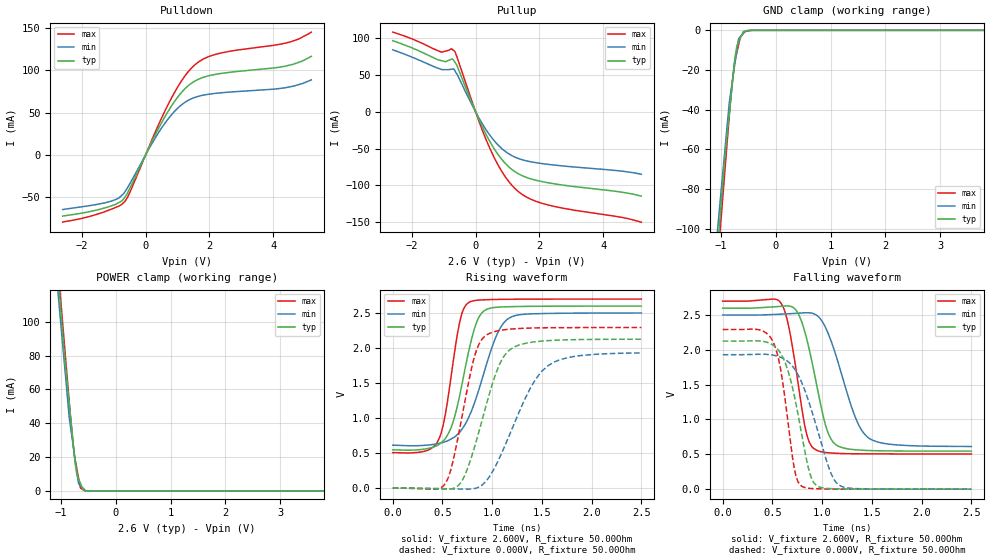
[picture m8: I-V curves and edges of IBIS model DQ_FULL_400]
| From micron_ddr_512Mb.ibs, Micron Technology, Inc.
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|   MODEL DQ_FULL_400
[Model]   DQ_FULL_400
Model_type   I/O
Vinl = 0.990V
Vinh = 1.610V
Vmeas = 1.300V
Vref = 1.300V
Cref = 30.000pF
Rref = 50.000Ohm
|   typ   min   max
C_comp   3.00pF   2.85pF   3.15pF
[Model Spec]
| Input threshold voltage corners
Vinh   1.610V   1.560V   1.660V
Vinl   0.990V   0.940V   1.040V
| Measurement voltage corners
Vmeas   1.300V   1.250V   1.350V
| Timing spec test load voltage corners
Vref   1.300V   1.250V   1.350V
| Overshoot/Undershoot
S_overshoot_high   2.900V   2.800V   3.000V
S_overshoot_low   -0.300V   -0.300V   -0.300V
D_overshoot_high   4.100V   4.000V   4.200V
D_overshoot_low   -1.500V   -1.500V   -1.500V
D_overshoot_time   1.667n   1.667n   1.667n
[Receiver Thresholds]
Vth   =  1.300V
Vth_min  =  1.274V
Vth_max  =  1.326V
Vinh_ac  =  0.310V
Vinh_dc  =  0.150V
Vinl_ac  = -0.310V
Vinl_dc  = -0.150V
Tslew_ac =  10.000ns |Not specified, so set to high value
Threshold_sensitivity = 0.50
Reference_supply Pullup_ref
[Voltage Range]   2.600V   2.500V   2.700V
[Pullup Reference]   2.600V   2.500V   2.700V
| Junction Temperature (Ambient temp is 25C typ, 70C min, 0C max)
[Temperature Range]   40.0   85.0   0.0
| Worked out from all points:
|   slope of the pulldown table from 0 to 0.39 V, typ, clamps not added: 12.9 ohm
|   slope of the pullup table from 0 to 0.39 V, typ, clamps not added: 10.8 ohm
|   GND clamp passes 1 mA (typ) near -0.60 V on its own axis
|   POWER clamp passes 1 mA (typ) near -0.60 V on its own axis
|   falling waveform, V_fixture 2.600V, R_fixture 50.00Ohm: 20-80 % time 188ps typ, 255ps min, 147ps max; typ from 2.6 V to 0.546 V
|   rising waveform, V_fixture 2.600V, R_fixture 50.00Ohm: 20-80 % time 195ps typ, 270ps min, 144ps max; typ from 0.546 V to 2.6 V
|   rising waveform, V_fixture 0.000V, R_fixture 50.00Ohm: 20-80 % time 267ps typ, 375ps min, 196ps max; typ from 0 V to 2.12 V
|   falling waveform, V_fixture 0.000V, R_fixture 50.00Ohm: 20-80 % time 187ps typ, 259ps min, 136ps max; typ from 2.12 V to 0 V
[Pulldown]
|   Voltage   I(typ)   I(min)   I(max)
-2.6V     -72.35mA   -64.58mA   -79.46mA
-1.055V   -59.89mA   -54.38mA   -63.81mA
-850mV    -56.52mA   -51.22mA   -60.68mA
-650mV    -49.79mA   -43.63mA   -55.03mA
-475mV    -37.99mA   -32.72mA   -42.63mA
215mV     17.08mA    14.47mA    19.33mA
660mV     48.58mA    40.2mA     56.03mA
1.205V    77.09mA    61.4mA     91.8mA
1.64V     89.16mA    69.1mA     109.3mA
2.385V    96.41mA    73.53mA    120.6mA
4.37V     104.8mA    79.36mA    132mA
5.2V      116.5mA    88.75mA    145.2mA
[GND Clamp]
|   Voltage   I(typ)   I(min)   I(max)
-2.6V     -699mA     -663.5mA   -736mA
-1.055V   -106mA     -96.76mA   -113.2mA
-945mV    -67.84mA   -63.95mA   -75.07mA
-855mV    -42.91mA   -37.1mA    -43.9mA
-795mV    -26.35mA   -25.39mA   -25.67mA
-750mV    -13.94mA   -16.85mA   -15.71mA
-715mV    -8.058mA   -10.21mA   -11.38mA
-685mV    -6.006mA   -4.513mA   -7.669mA
-650mV    -3.921mA   -3.188mA   -3.34mA
-595mV    -655.3uA   -1.443mA   -1.527mA
-385mV    -1.211uA   -2.54uA    -330.1nA
5.2V      0A         0A         0A
[Pullup]
|   Voltage   I(typ)   I(min)   I(max)
-2.6V     96.87mA    84.48mA    108.6mA
-1.075V   69.69mA    57.7mA     81.25mA
-945mV    68.24mA    57.42mA    82.65mA
-760mV    71.58mA    57.98mA    85.85mA
-650mV    67.72mA    55.99mA    82.26mA
140mV     -13.84mA   -11.01mA   -16.85mA
460mV     -41.32mA   -32.53mA   -50.9mA
940mV     -70.51mA   -54.16mA   -89.03mA
1.395V    -85.61mA   -64.4mA    -110.4mA
1.725V    -91.23mA   -68mA      -118.9mA
2.295V    -96.8mA    -71.67mA   -127.1mA
5.2V      -114.8mA   -85mA      -150.3mA
[POWER Clamp]
|   Voltage   I(typ)   I(min)   I(max)
-2.6V     793.4mA    770mA      815mA
-1.055V   125.7mA    115.9mA    130.8mA
-945mV    82.06mA    76.33mA    88.01mA
-850mV    50.62mA    42.43mA    51.09mA
-795mV    32.48mA    29.85mA    31.85mA
-760mV    20.93mA    21.84mA    21.23mA
-715mV    9.987mA    11.54mA    13.22mA
-685mV    7.32mA     4.673mA    8.005mA
-650mV    4.616mA    3.247mA    1.918mA
-595mV    378.9uA    1.425mA    632.5uA
-445mV    1.932uA    2.253uA    NA
5.2V      0A         0A         0A
[Ramp]
R_load = 50.00Ohm
|   typ   min   max
dV/dt_r   1.275V/266.754ps   1.158V/375.290ps   1.375V/196.273ps
dV/dt_f   1.231V/187.851ps   1.132V/254.709ps   1.316V/147.088ps
[Falling Waveform]
V_fixture = 2.600V
V_fixture_min = 2.500V
V_fixture_max = 2.700V
R_fixture = 50.00Ohm
|   Time   V(typ)   V(min)   V(max)
0s        2.598V     2.5V       2.698V
590ps     2.624V     2.512V     2.661V
670ps     2.628V     2.518V     2.289V
760ps     2.518V     2.525V     1.501V
840ps     2.183V     2.532V     816.1mV
920ps     1.672V     2.513V     579.7mV
1.11ns    674.4mV    2.043V     517.1mV
1.33ns    566.1mV    1.043V     508mV
1.46ns    555.3mV    741.6mV    506.6mV
2.5ns     545.9mV    612.2mV    505.6mV
[Rising Waveform]
V_fixture = 2.600V
V_fixture_min = 2.500V
V_fixture_max = 2.700V
R_fixture = 50.00Ohm
|   Time   V(typ)   V(min)   V(max)
0s        545.9mV    612.2mV    505.6mV
340ps     561.1mV    612.4mV    533.3mV
470ps     626.4mV    639.4mV    716.6mV
580ps     838.8mV    695mV      1.521V
670ps     1.297V     791.9mV    2.346V
760ps     1.925V     996.8mV    2.645V
890ps     2.489V     1.514V     2.686V
1.04ns    2.581V     2.165V     2.693V
1.16ns    2.589V     2.417V     2.695V
2.5ns     2.598V     2.5V       2.698V
[Rising Waveform]
V_fixture = 0.000V
V_fixture_min = 0.000V
V_fixture_max = 0.000V
R_fixture = 50.00Ohm
|   Time   V(typ)   V(min)   V(max)
0s        397.7uV    -72.31uV   385.6uV
540ps     -15.19mV   -9.03mV    91.34mV
610ps     -4.136mV   -11.2mV    408.3mV
720ps     167.5mV    -15.14mV   1.193V
830ps     620.3mV    -4.677mV   1.914V
950ps     1.234V     118mV      2.191V
1.16ns    1.952V     709.9mV    2.266V
1.4ns     2.082V     1.465V     2.285V
1.56ns    2.105V     1.745V     2.289V
2.5ns     2.125V     1.93V      2.292V
[Falling Waveform]
V_fixture = 0.000V
V_fixture_min = 0.000V
V_fixture_max = 0.000V
R_fixture = 50.00Ohm
|   Time   V(typ)   V(min)   V(max)
0s        2.125V     1.93V      2.292V
510ps     2.064V     1.923V     2.105V
580ps     1.956V     1.893V     1.736V
650ps     1.727V     1.838V     1.038V
730ps     1.272V     1.709V     228mV
790ps     822.2mV    1.545V     47.33mV
910ps     107mV      1.054V     8.117mV
1.08ns    8.403mV    259.1mV    2.319mV
1.17ns    4.52mV     60.35mV    1.405mV
2.5ns     397.7uV    -72.31uV   385.6uV
